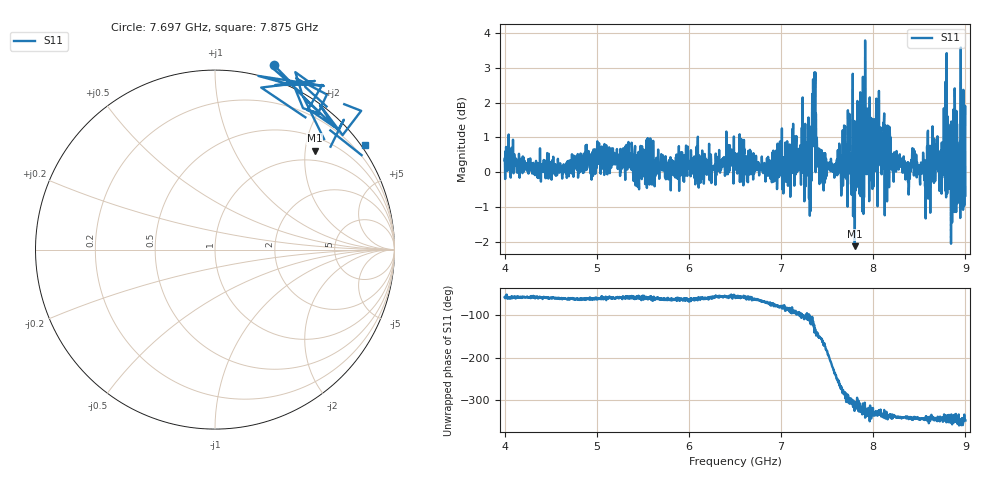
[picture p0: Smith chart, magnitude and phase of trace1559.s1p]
! Created with skrf 1.8.0 (http://scikit-rf.org).
# Hz S RI R 50.0
!freq ReS11 ImS11
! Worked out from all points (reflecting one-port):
!   1601 points, 4 GHz to 9 GHz, reference 50 ohm
!   lowest |S11| = -2.1 dB at 7.8 GHz (marker M1), VSWR 8.24, Z = 38.5 + j110 ohm
!   phase of S11 starts at -59 deg and turns -288 deg over the sweep
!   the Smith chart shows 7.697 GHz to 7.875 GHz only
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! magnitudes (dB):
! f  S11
! 4 GHz  0.3
! 4.625 GHz  -0.2
! 5.25 GHz  0.3
! 5.875 GHz  0.1
! 6.5 GHz  0.3
! 7.125 GHz  0.0
! 7.309 GHz  1.0
! 7.362 GHz  2.9
! 7.4 GHz  0.2
! 7.438 GHz  -0.1
! 7.75 GHz  0.4
! 7.784 GHz  -0.2
! 7.8 GHz  -2.1
! 7.847 GHz  1.2
! 7.875 GHz  0.2
! 7.928 GHz  1.3
! 7.981 GHz  -0.2
! 8.097 GHz  0.7
! 8.15 GHz  -0.8
! 8.375 GHz  0.2
! 8.444 GHz  0.2
! 8.594 GHz  1.2
! 8.666 GHz  0.3
! 8.738 GHz  0.6
! 8.8 GHz  0.5
! 8.856 GHz  -1.4
! 8.972 GHz  0.4
! 9 GHz  -0.7
